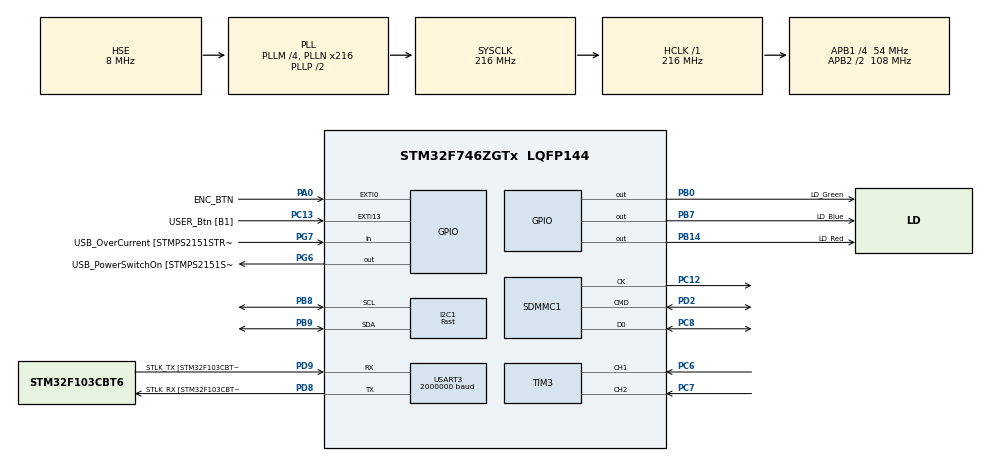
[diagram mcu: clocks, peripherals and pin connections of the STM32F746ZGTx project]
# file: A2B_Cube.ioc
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Dma.Request0=SDMMC1_RX
Dma.Request1=SDMMC1_TX
Dma.SDMMC1_RX.0.Direction=DMA_PERIPH_TO_MEMORY
Dma.SDMMC1_RX.0.FIFOMode=DMA_FIFOMODE_ENABLE
Dma.SDMMC1_RX.0.FIFOThreshold=DMA_FIFO_THRESHOLD_FULL
Dma.SDMMC1_RX.0.Instance=DMA2_Stream3
Dma.SDMMC1_RX.0.MemBurst=DMA_MBURST_INC4
Dma.SDMMC1_RX.0.MemDataAlignment=DMA_MDATAALIGN_WORD
Dma.SDMMC1_RX.0.MemInc=DMA_MINC_ENABLE
Dma.SDMMC1_RX.0.Mode=DMA_PFCTRL
Dma.SDMMC1_RX.0.PeriphBurst=DMA_PBURST_INC4
Dma.SDMMC1_RX.0.PeriphDataAlignment=DMA_PDATAALIGN_WORD
Dma.SDMMC1_RX.0.PeriphInc=DMA_PINC_DISABLE
Dma.SDMMC1_RX.0.Priority=DMA_PRIORITY_LOW
Dma.SDMMC1_TX.1.Direction=DMA_MEMORY_TO_PERIPH
Dma.SDMMC1_TX.1.FIFOMode=DMA_FIFOMODE_ENABLE
Dma.SDMMC1_TX.1.FIFOThreshold=DMA_FIFO_THRESHOLD_FULL
Dma.SDMMC1_TX.1.Instance=DMA2_Stream6
Dma.SDMMC1_TX.1.MemBurst=DMA_MBURST_INC4
Dma.SDMMC1_TX.1.MemDataAlignment=DMA_MDATAALIGN_WORD
Dma.SDMMC1_TX.1.MemInc=DMA_MINC_ENABLE
Dma.SDMMC1_TX.1.Mode=DMA_PFCTRL
Dma.SDMMC1_TX.1.PeriphBurst=DMA_PBURST_INC4
Dma.SDMMC1_TX.1.PeriphDataAlignment=DMA_PDATAALIGN_WORD
Dma.SDMMC1_TX.1.PeriphInc=DMA_PINC_DISABLE
Dma.SDMMC1_TX.1.Priority=DMA_PRIORITY_LOW
FATFS.USE_DMA_CODE_SD=1
FATFS._MAX_SS=4096
I2C1.I2C_Speed_Mode=I2C_Fast
I2C1.Timing=0x6000030D
Mcu.Family=STM32F7
Mcu.Name=STM32F746ZGTx
Mcu.Package=LQFP144
NVIC.DMA2_Stream3_IRQn=true\:0\:0\:false\:false\:true\:false\:true
NVIC.DMA2_Stream6_IRQn=true\:0\:0\:false\:false\:true\:false\:true
NVIC.EXTI0_IRQn=true\:0\:0\:false\:false\:true\:true\:true
NVIC.EXTI15_10_IRQn=true\:0\:0\:false\:false\:true\:true\:true
NVIC.PriorityGroup=NVIC_PRIORITYGROUP_4
NVIC.SDMMC1_IRQn=true\:0\:0\:false\:false\:true\:true\:true
NVIC.TIM1_UP_TIM10_IRQn=true\:0\:0\:false\:false\:true\:true\:true
NVIC.TIM3_IRQn=true\:0\:0\:false\:false\:true\:true\:true
PA0/WKUP.GPIO_Label=ENC_BTN
PA0/WKUP.GPIO_ModeDefaultEXTI=GPIO_MODE_IT_FALLING
PA0/WKUP.GPIO_PuPd=GPIO_PULLUP
PA0/WKUP.Signal=GPXTI0
PA13.GPIO_Label=TMS
PA13.Mode=Serial_Wire
PA13.Signal=SYS_JTMS-SWDIO
PA14.GPIO_Label=TCK
PA14.Mode=Serial_Wire
PA14.Signal=SYS_JTCK-SWCLK
PB0.GPIO_Label=LD_Green
PB0.GPIO_Speed=GPIO_SPEED_FREQ_HIGH
PB0.Signal=GPIO_Output
PB14.GPIO_Label=LD_Red
PB14.GPIO_Speed=GPIO_SPEED_FREQ_HIGH
PB14.Signal=GPIO_Output
PB3.GPIO_Label=SW0
PB3.Signal=SYS_JTDO-SWO
PB7.GPIO_Label=LD_Blue
PB7.GPIO_Speed=GPIO_SPEED_FREQ_HIGH
PB7.Signal=GPIO_Output
PB8.GPIO_Pu=GPIO_NOPULL
PB8.Mode=I2C
PB8.Signal=I2C1_SCL
PB9.GPIO_Pu=GPIO_NOPULL
PB9.Mode=I2C
PB9.Signal=I2C1_SDA
PC12.Mode=SD_1_bit
PC12.Signal=SDMMC1_CK
PC13.GPIO_Label=USER_Btn [B1]
PC13.GPIO_ModeDefaultEXTI=GPIO_MODE_IT_RISING
PC13.GPIO_PuPd=GPIO_NOPULL
PC13.Signal=GPXTI13
PC14/OSC32_IN.Mode=LSE-External-Oscillator
PC14/OSC32_IN.Signal=RCC_OSC32_IN
PC15/OSC32_OUT.Mode=LSE-External-Oscillator
PC15/OSC32_OUT.Signal=RCC_OSC32_OUT
PC6.GPIO_PuPd=GPIO_PULLUP
PC6.GPIO_Speed=GPIO_SPEED_FREQ_HIGH
PC6.Signal=S_TIM3_CH1
PC7.GPIO_PuPd=GPIO_PULLUP
PC7.GPIO_Speed=GPIO_SPEED_FREQ_HIGH
PC7.Signal=S_TIM3_CH2
PC8.GPIO_PuPd=GPIO_PULLUP
PC8.Mode=SD_1_bit
PC8.Signal=SDMMC1_D0
PD2.GPIO_PuPd=GPIO_PULLUP
PD2.Mode=SD_1_bit
PD2.Signal=SDMMC1_CMD
PD8.GPIO_Label=STLK_RX [STM32F103CBT6_PA3]
PD8.Mode=Asynchronous
PD8.Signal=USART3_TX
PD9.GPIO_Label=STLK_TX [STM32F103CBT6_PA2]
PD9.Mode=Asynchronous
PD9.Signal=USART3_RX
PG6.GPIO_Label=USB_PowerSwitchOn [STMPS2151STR_EN]
PG6.Signal=GPIO_Output
PG7.GPIO_Label=USB_OverCurrent [STMPS2151STR_FAULT]
PG7.Signal=GPIO_Input
PH0/OSC_IN.GPIO_Label=MCO [STM32F103CBT6_PA8]
PH0/OSC_IN.Mode=HSE-External-Clock-Source
PH0/OSC_IN.Signal=RCC_OSC_IN
PH1/OSC_OUT.Mode=HSE-External-Clock-Source
PH1/OSC_OUT.Signal=RCC_OSC_OUT
ProjectManager.HeapSize=0x400
ProjectManager.StackSize=0x800
ProjectManager.TargetToolchain=STM32CubeIDE
RCC.48MHZClocksFreq_Value=24000000
RCC.AHBFreq_Value=216000000
RCC.APB1CLKDivider=RCC_HCLK_DIV4
RCC.APB1Freq_Value=54000000
RCC.APB1TimFreq_Value=108000000
RCC.APB2CLKDivider=RCC_HCLK_DIV2
RCC.APB2Freq_Value=108000000
RCC.APB2TimFreq_Value=216000000
RCC.CortexFreq_Value=216000000
RCC.HCLKFreq_Value=216000000
RCC.HSE_VALUE=8000000
RCC.HSI_VALUE=16000000
RCC.PLLI2SN=50
RCC.PLLM=4
RCC.PLLMUL=RCC_PLL_MUL9
RCC.PLLN=216
RCC.PLLQ=9
RCC.PLLSourceVirtual=RCC_PLLSOURCE_HSE
RCC.PRESCALERUSB=RCC_USBCLKSOURCE_PLL_DIV1_5
RCC.SDMMCClockSelection=RCC_SDMMC1CLKSOURCE_CLK48
RCC.SYSCLKFreq_VALUE=216000000
RCC.SYSCLKSource=RCC_SYSCLKSOURCE_PLLCLK
RCC.SYSCLKSourceVirtual=RCC_SYSCLKSOURCE_PLLCLK
RCC.USBFreq_Value=48000000
RCC.VCOOutputFreq_Value=432000000
SH.S_TIM3_CH1.0=TIM3_CH1,Encoder_Interface
SH.S_TIM3_CH2.0=TIM3_CH2,Encoder_Interface
TIM10.AutoReloadPreload=TIM_AUTORELOAD_PRELOAD_ENABLE
TIM10.Period=1000-1
TIM10.Prescaler=216-1
TIM3.IC1Filter=5
TIM3.IC2Filter=5
TIM3.TIM_MasterOutputTrigger=TIM_TRGO_RESET
USART3.BaudRate=2000000
USART3.VirtualMode-Asynchronous=VM_ASYNC
VP_FATFS_VS_SDIO.Mode=SDIO
VP_TIM10_VS_ClockSourceINT.Mode=Enable_Timer
board=NUCLEO-F746ZG

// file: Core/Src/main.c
/* USER CODE BEGIN Header */
/**
  ******************************************************************************
  * @file           : main.c
  * @brief          : Main program body
  ******************************************************************************
  * @attention
  *
  * Copyright (c) 2021 STMicroelectronics.
  * All rights reserved.
  *
  * This software is licensed under terms that can be found in the LICENSE file
  * in the root directory of this software component.
  * If no LICENSE file comes with this software, it is provided AS-IS.
  *
  ******************************************************************************
  */
/* USER CODE END Header */
#include "main.h"
#include "dma.h"
#include "fatfs.h"
#include "i2c.h"
#include "sdmmc.h"
#include "tim.h"
#include "usart.h"
#include "gpio.h"

/* USER CODE BEGIN Includes */
#include "adi_initialize.h"
#include "adi_a2b_externs.h"
#include "adi_a2b_busconfig.h"
#include "a2bapp_defs.h"
#include <errno.h>
#include <string.h>
#include "a2b/pluginapi.h"

#include <assert.h>
#include <stdio.h>
#include "..\adi_a2b_datatypes.h"
#include "adi_a2b_commch_interface.h"

#ifdef A2B_FEATURE_COMM_CH
#include "adi_a2b_commch_appinterface.h"
#endif
#include "plugin_priv.h"
#include <a2bapp.h>

/* USER CODE END Includes */

/* USER CODE BEGIN PD */

//#define PUSH_BUTTON1_PORT      (ADI_GPIO_PORT_A)	  /*!< GPIO port to which push button 1 is connected to */
//#define PUSH_BUTTON2_PORT      (ADI_GPIO_PORT_B)	  /*!< GPIO port to which push button 2 is connected to */
//
//#define PUSH_BUTTON1_PINT      (ADI_GPIO_PIN_INTERRUPT_0)	/*!< GPIO pint to which push button 1 is connected to */
//#define PUSH_BUTTON2_PINT      (ADI_GPIO_PIN_INTERRUPT_0)	/*!< GPIO port to which push button 2 is connected to */
//
//#define PUSH_BUTTON1_PIN       (ADI_GPIO_PIN_15)	  /*!< GPIO pin within the port to which push button 1 is connected to */
//#define PUSH_BUTTON2_PIN       (ADI_GPIO_PIN_0)	  	  /*!< GPIO pin within the port to which push button 2 is connected to */
//
//#define PUSH_BUTTON1_PINT_PIN  (ADI_GPIO_PIN_31)	  /*!< pin within the pint to which push button 1 is connected to */
//#define PUSH_BUTTON2_PINT_PIN  (ADI_GPIO_PIN_0)		  /*!< pin within the pint to which push button 2 is connected to */

/* USER CODE END PD */

/* USER CODE BEGIN PV */
/*static*/ a2b_App_t gApp_Info;
a2b_UInt8 CurrNode;

char __argv_string[] = "";

//uint32_t				goGpioMem[16*3];
//volatile a2b_Bool		gbPb1Pressed = false;
//volatile a2b_Bool		gbPb2Pressed = false;

uint16_t LD_Red_time=0;
uint16_t LD_Green_time=0;
uint16_t LD_Blue_time=0;

extern uint16_t enc_last;

//_g_r_g_w	//PCA9632
//01010101
uint8_t leds_off[]={0x08,0x00};
uint8_t led_red[]={0x08,0x10};
uint8_t led_green[]={0x08,0x04};
uint8_t led_write[]={0x08,0x01};
uint8_t msg_data0[]={0x08,0x51};//{0x08,0x05};
uint8_t msg_data1[]={0x08,0x55};
uint8_t msg_data2[]={0x08,0x05};
uint8_t msg_data3[]={0x08,0x50};

uint8_t vol[] = {0x12, 0x00, 0x40, 0x00, 0x00, 0x1F};
uint8_t seek_up[] = {0x21,0x0C};

/* USER CODE END PV */

void SystemClock_Config(void);
/* USER CODE BEGIN PFP */

//void  adi_a2b_Delay(a2b_UInt32 nTime);
#ifdef A2B_FEATURE_COMM_CH
static void 			a2b_HandleCommChRxMsg(uint8 nMsgId, uint16 nMsgLenInBytes, uint8* pMsgPayload);
//static void 			PushButtons_Init(void);
//static ADI_GPIO_RESULT 	PushButtons_Setup(ADI_GPIO_PORT	ePbPort, uint32_t nPbPin, ADI_GPIO_PIN_INTERRUPT  ePbPinInt, uint32_t  nPbPinIntPin, ADI_GPIO_CALLBACK pfCallback);
//static void 			GpioCallback(ADI_GPIO_PIN_INTERRUPT ePinInt, uint32_t Data, void *pCBParam);
#endif
static void a2b_LED_toggle(struct a2b_Msg* msg);

/* USER CODE END PFP */

int main(void)
{

  /* MCU Configuration--------------------------------------------------------*/

  /* Reset of all peripherals, Initializes the Flash interface and the Systick. */
  HAL_Init();

  /* Configure the system clock */
  SystemClock_Config();

  /* Initialize all configured peripherals */
  MX_GPIO_Init();
  MX_I2C1_Init();
  MX_USART3_UART_Init();
  MX_TIM10_Init();
  MX_TIM3_Init();
  MX_SDMMC1_SD_Init();
  MX_DMA_Init();
  MX_FATFS_Init();
  /* USER CODE BEGIN 2 */

  FRESULT res; // FatFs function common result code
  uint32_t byteswritten, bytesread; // File write/read counts
  uint8_t wtext[] = "STM32 FATFS works great!"; // File write buffer
  uint8_t rtext[_MAX_SS];// File read buffer

  if(f_mount(&SDFatFS, (TCHAR const*)SDPath, 0) != FR_OK)
  {
	  A2B_APP_LOG("SD mount error\r\n");
	  //Error_Handler();
  }
  else
  {
	  A2B_APP_LOG("SD mounted\r\n");
	  /*if(f_mkfs((TCHAR const*)SDPath, FM_ANY, 0, rtext, sizeof(rtext)) != FR_OK)
	  {
		  Error_Handler();
	  }
	  else
	  {
			//Open file for writing (Create)
			if(f_open(&SDFile, "STM32.TXT", FA_CREATE_ALWAYS | FA_WRITE) != FR_OK)
			{
				Error_Handler();
			}
			else
			{

				//Write to the text file
				res = f_write(&SDFile, wtext, strlen((char *)wtext), (void *)&byteswritten);
				if((byteswritten == 0) || (res != FR_OK))
				{
					Error_Handler();
				}
				else
				{

					f_close(&SDFile);
				}
			}
	  }*/
  }
  //f_mount(&SDFatFS, (TCHAR const*)NULL, 0);

  gApp_Info.bDebug = true;
  //gApp_Info->pTargetProperties->bLineDiagnostics = 1;
  //gApp_Info->pTargetProperties->nAttemptsCriticalFault = 5;
  //HAL_DBGMCU_EnableDBGStandbyMode();
  DBGMCU->APB2FZ |= DBGMCU_APB2_FZ_DBG_TIM10_STOP;
  HAL_TIM_Base_Start_IT(&htim10);
  HAL_TIM_Encoder_Start(&htim3, TIM_CHANNEL_ALL);

  __HAL_TIM_SET_COUNTER(&htim3, enc_last);

  TIM3->SMCR &= ~(TIM_SMCR_TS_0 | TIM_SMCR_TS_1); /* 100: TI1 Edge Detector (TI1F_ED) */
  TIM3->SMCR |= TIM_SMCR_TS_2;

  TIM3->DIER |= TIM_DIER_TIE;/* 1: Trigger interrupt enabled. */
  NVIC_EnableIRQ(TIM3_IRQn);

  a2b_UInt32 nResult = 0;
  bool bRunFlag = true;

//  XfadePayload 	oXfadeData;
//  A2B_COMMCH_RET 	eCommChRet;

//  adi_initComponents();

//  nResult = adi_a2b_SystemInit(); 		/* system/platform specific initialization */
//  if(nResult != 0)
//	  assert(nResult == 0);

  /* A2B Network Setup. Performs discovery and configuration of A2B nodes and its peripherals */
  nResult = a2b_setup(&gApp_Info);
  if (nResult)
  {
	  CurrNode = gApp_Info.faultNode;
	  printf("Currently found node number is:%d\n", CurrNode);
	  assert(nResult == 0);				/* failed to setup A2B network */
  }

//  A2B_COMMCH_RET eRet = A2B_COMMCH_SUCCESS;
//  eRet = adi_a2b_app_CommChInit();

//  uint8_t err_reg=0x02;//{0x17};
//  uint8_t err_answ=0x0;
  //eRet = adi_a2b_app_CommChSendMsg(a2b_UInt8 nMsgId, a2b_UInt16 nMsgLenInBytes, a2b_UInt8* pMsgPayload, int16 nNodeAddr);

//  struct a2b_StackContext *ctx; /*!< Stack context already initialized */
//  a2b_CommChMsg oCommChTxMsg; /*!< Communication Channel message frame to be transmitted */

  //a2b_LED_toggle(struct a2b_Msg* msg);

  /* USER CODE END 2 */

  /* Infinite loop */
  /* USER CODE BEGIN WHILE */
  while (1)
  {
	a2b_stackTick(gApp_Info.ctx);					/* tick keeps all process rolling.. so keep ticking */
	nResult = a2b_fault_monitor(&gApp_Info);		/* Monitor a2b network for faults and initiate re-discovery if enabled */
	/*-----------------------------------------------------------*/
	/* Add your other continuous monitoring application code here */
	/*-----------------------------------------------------------*/
	if (nResult != 0)
		bRunFlag = false;							/* condition to exit the program */

	//a2b_i2cPeriphWrite(struct a2b_StackContext* ctx, a2b_Int16 node, a2b_UInt16 i2cAddr, a2b_UInt16 nWrite, void* wBuf)
//	a2b_i2cPeriphWrite(gApp_Info.ctx, 0, 0x70, sizeof(msg_data0), led_green);
//	HAL_Delay(300);
//	a2b_i2cPeriphWrite(gApp_Info.ctx, 0, 0x70, sizeof(msg_data1), led_red);
//	HAL_Delay(300);

//	#define A2B_MSG_MY_MESSAGE (A2B_MSGREQ_CUSTOM + 1)
//
//	struct a2b_Msg *msg;
//	a2b_HResult result;
//	a2b_UInt32 *data;
//	a2b_UInt16 slaveNode = 1;
//
//	msg = a2b_msgAlloc(a2b>ctx, A2B_MSG_REQUEST, A2B_MSG_MY_MESSAGE);
//	if (msg != A2B_NULL)
//	{
//		data = (a2b_UInt32 *)a2b_msgGetPayload(msg);
//		*data = 0xABCDABCD;
//		result = a2b_msgRtrSendRequest(msg, slaveNode, NULL);
//		a2b_msgUnref(msg);
//	}

    /* USER CODE END WHILE */

  }
}

void SystemClock_Config(void)
{
  RCC_OscInitTypeDef RCC_OscInitStruct = {0};
  RCC_ClkInitTypeDef RCC_ClkInitStruct = {0};

  /** Configure LSE Drive Capability
  */
  HAL_PWR_EnableBkUpAccess();
  /** Configure the main internal regulator output voltage
  */
  __HAL_RCC_PWR_CLK_ENABLE();
  __HAL_PWR_VOLTAGESCALING_CONFIG(PWR_REGULATOR_VOLTAGE_SCALE1);
  /** Initializes the RCC Oscillators according to the specified parameters
  * in the RCC_OscInitTypeDef structure.
  */
  RCC_OscInitStruct.OscillatorType = RCC_OSCILLATORTYPE_HSE;
  RCC_OscInitStruct.HSEState = RCC_HSE_BYPASS;
  RCC_OscInitStruct.PLL.PLLState = RCC_PLL_ON;
  RCC_OscInitStruct.PLL.PLLSource = RCC_PLLSOURCE_HSE;
  RCC_OscInitStruct.PLL.PLLM = 4;
  RCC_OscInitStruct.PLL.PLLN = 216;
  RCC_OscInitStruct.PLL.PLLP = RCC_PLLP_DIV2;
  RCC_OscInitStruct.PLL.PLLQ = 9;
  if (HAL_RCC_OscConfig(&RCC_OscInitStruct) != HAL_OK)
  {
    Error_Handler();
  }
  /** Activate the Over-Drive mode
  */
  if (HAL_PWREx_EnableOverDrive() != HAL_OK)
  {
    Error_Handler();
  }
  /** Initializes the CPU, AHB and APB buses clocks
  */
  RCC_ClkInitStruct.ClockType = RCC_CLOCKTYPE_HCLK|RCC_CLOCKTYPE_SYSCLK
                              |RCC_CLOCKTYPE_PCLK1|RCC_CLOCKTYPE_PCLK2;
  RCC_ClkInitStruct.SYSCLKSource = RCC_SYSCLKSOURCE_PLLCLK;
  RCC_ClkInitStruct.AHBCLKDivider = RCC_SYSCLK_DIV1;
  RCC_ClkInitStruct.APB1CLKDivider = RCC_HCLK_DIV4;
  RCC_ClkInitStruct.APB2CLKDivider = RCC_HCLK_DIV2;

  if (HAL_RCC_ClockConfig(&RCC_ClkInitStruct, FLASH_LATENCY_7) != HAL_OK)
  {
    Error_Handler();
  }
}

/* USER CODE BEGIN 4 */

#ifdef A2B_FEATURE_COMM_CH
/***********************************************************************************/
/*!
    @brief          This is the call from Communication channel Application wrapper
    				for a new event

    @param [in]     nMsgId       	Message Id.
    @param [in]     nMsgLenInBytes  Message Length in Bytes
    @param [in]     pMsgPayload     Message Payload
    @param [in]     nNodeAddr       Node Address
    @param [in]     eEventType      Event Type

    @return         Return code
                    - 0: Success
                    - 1: Failure
*/
/***********************************************************************************/
void adi_a2b_app_CommChCallBk(uint8 nMsgId, uint16 nMsgLenInBytes, uint8* pMsgPayload, int16 nNodeAddr, A2B_COMMCH_EVENT eEventType)
{
	switch (eEventType)
	{
		case A2B_COMMCH_EVENT_RX_MSG: /* Action based on message Id */
			a2b_HandleCommChRxMsg(nMsgId, nMsgLenInBytes, pMsgPayload);
			//memcpy(&payload[0], pCommChEventInfo->pRxMsg->pMsgPayload, pCommChEventInfo->pRxMsg->nMsgLenInBytes);
			break;

		case A2B_COMMCH_EVENT_TX_DONE: /* Actions post Tx confirmation */
			break;

		case A2B_COMMCH_EVENT_TX_TIMEOUT: /* Tx timeout */
			break;

		case A2B_COMMCH_EVENT_FAILURE: /* Failure condition */
			break;
	}
}

/***********************************************************************************/
/*!
    @brief          This function handles various messages over Communication channel

    @param [in]     nMsgId       	Message Id.
    @param [in]     nMsgLenInBytes  Message Length in Bytes
    @param [in]     pMsgPayload     Message Payload

    @return         Return code
                    - 0: Success
                    - 1: Failure
*/
/***********************************************************************************/
static void a2b_HandleCommChRxMsg(uint8 nMsgId, uint16 nMsgLenInBytes, uint8* pMsgPayload)
{
	switch(nMsgId)
	{
		case A2B_COMMCH_MSG_RSP_XFADE_AUDIO_SRC:
			break;

		default:
			break;

	}
}

//static void PushButtons_Init(void)
//{
//    ADI_GPIO_RESULT 		eResult;
//    uint32_t 				nGpioMaxCallbacks;
//
//    eResult = adi_gpio_Init(goGpioMem, (16*3), &nGpioMaxCallbacks);
//
//    eResult = PushButtons_Setup(PUSH_BUTTON1_PORT,
//								PUSH_BUTTON1_PIN,
//								PUSH_BUTTON1_PINT,
//								PUSH_BUTTON1_PINT_PIN,
//								GpioCallback);
//
//    /* Setup Push Button 2 */
//    eResult = PushButtons_Setup(PUSH_BUTTON2_PORT,
//								PUSH_BUTTON2_PIN,
//								PUSH_BUTTON2_PINT,
//								PUSH_BUTTON2_PINT_PIN,
//								GpioCallback);
//
//    if(eResult != ADI_GPIO_SUCCESS)
//    {
//
//    }
//}
//
//static ADI_GPIO_RESULT PushButtons_Setup(ADI_GPIO_PORT			ePbPort,
//										uint32_t      			nPbPin,
//										ADI_GPIO_PIN_INTERRUPT  ePbPinInt,
//										uint32_t                nPbPinIntPin,
//										ADI_GPIO_CALLBACK 		pfCallback)
//{
//	ADI_GPIO_RESULT eResult;
//
//    /* set GPIO input */
//    eResult = adi_gpio_SetDirection(ePbPort, nPbPin, ADI_GPIO_DIRECTION_INPUT);
//    /* set input edge sense */
//    eResult = adi_gpio_SetPinIntEdgeSense(ePbPinInt, nPbPinIntPin, ADI_GPIO_SENSE_RISING_EDGE);
//    /* register gpio callback */
//    eResult = adi_gpio_RegisterCallback(ePbPinInt, nPbPinIntPin, pfCallback, (void*)NULL);
//	/* enable interrupt mask */
//	eResult = adi_gpio_EnablePinInterruptMask(ePbPinInt, nPbPinIntPin, true);
//
//	return (eResult);
//}
//static void GpioCallback(ADI_GPIO_PIN_INTERRUPT ePinInt, uint32_t Data, void *pCBParam)
//{
//    if (ePinInt == PUSH_BUTTON1_PINT)
//    {
//        if (Data & PUSH_BUTTON1_PINT_PIN)
//        {
//        	gbPb1Pressed = true;
//        }
//    }
//
//    if (ePinInt == PUSH_BUTTON2_PINT)
//    {
//    	if (Data & PUSH_BUTTON2_PINT_PIN)
//        {
//    		gbPb2Pressed = true;
//        }
//    }
//}
#endif

static
void
a2b_LED_toggle
    (
    struct a2b_Msg* msg
    )
{
    a2b_Int32 retCode = A2B_EXEC_COMPLETE;

    a2b_Plugin* plugin   = (a2b_Plugin*)a2b_msgGetUserData( msg );
    a2b_UInt32  nodeAddr = a2b_msgGetTid( msg );
    a2b_UInt32* payload = (a2b_UInt32*)a2b_msgGetPayload( msg );
    a2b_UInt8 nCfgBlocks = 0u;
    a2b_PeripheralNode* periphNode;

	a2b_i2cPeriphWrite(gApp_Info.ctx, 0, 0x70, sizeof(msg_data2), msg_data2);
	HAL_Delay(100);
	//(void)a2b_ActiveDelay(plugin->ctx, 100);
	a2b_i2cPeriphWrite(gApp_Info.ctx, 0, 0x70, sizeof(msg_data3), msg_data3);
	HAL_Delay(100);
	//(void)a2b_ActiveDelay(plugin->ctx, 100);

//    if ( payload )
//    {
//        nCfgBlocks = (a2b_UInt8)payload[0];
//    }

//    A2B_DSCVRY_SEQGROUP1( plugin->ctx,
//                          "periphCfgStartProcessing for nodeAddr %hd",
//                          &nodeAddr );
//
//    if ( nCfgBlocks == 0u )
//    {
//        A2B_DSCVRY_WARN0( plugin->ctx, "periphCfgStartProcessing",
//                          "EEPROM Cfg Blocks is Zero" );
//        A2B_DSCVRY_SEQEND( plugin->ctx );
//        return A2B_EXEC_COMPLETE;
//    }
//
//    A2B_DSCVRYNOTE_DEBUG1( plugin->ctx, "periphCfgStartProcessing",
//                           "Start Processing %bd Cfg Blocks",
//                           &nCfgBlocks );
//
//    periphNode = A2B_GET_PERIPHNODE( plugin, nodeAddr );
//
//#ifdef A2B_BCF_FROM_SOC_EEPROM
//
//        A2B_GET_UINT16_BE(periphNode->addr, plugin->periphCfg.pkgCfg, 2u* nodeAddr);
//        /* 4 bytes from marker */
//        periphNode->addr 	  += 4u;
//        periphNode->cfgIdx     = 0u;
//        periphNode->nodeAddr   = nodeAddr;
//        periphNode->nCfgBlocks = nCfgBlocks;
//
//#else
//		periphNode->addr       = 0x0008u;
//		periphNode->cfgIdx     = 0u;
//		periphNode->nodeAddr   = (a2b_Int16)nodeAddr;
//		periphNode->nCfgBlocks = nCfgBlocks;
//#endif
//    /* Change so the execution flow will change */
//    (void)a2b_msgSetCmd( msg, A2B_MPLUGIN_CONT_PERIPH_CFG );
//
//    /* Begin processing all peripheral configuration blocks */
//    retCode = a2b_periphCfgProcessing( plugin, (a2b_Int16)nodeAddr );
//
//    A2B_DSCVRY_SEQEND( plugin->ctx );

//    return retCode;

} /* a2b_periphCfgStartProcessing */

/* USER CODE END 4 */

void Error_Handler(void)
{
  /* USER CODE BEGIN Error_Handler_Debug */
  /* User can add his own implementation to report the HAL error return state */
  __disable_irq();
  f_mount(&SDFatFS, (TCHAR const*)NULL, 0);
  while (1)
  {
  }
  /* USER CODE END Error_Handler_Debug */
}
